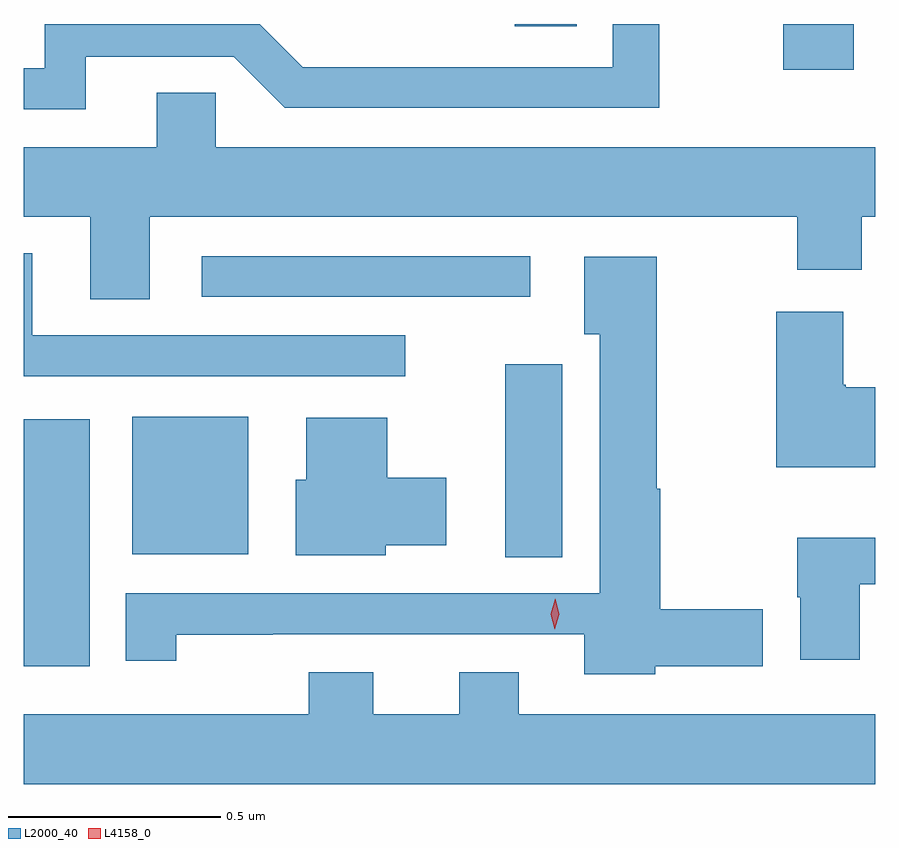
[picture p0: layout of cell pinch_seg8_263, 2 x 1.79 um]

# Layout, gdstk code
import gdstk
lib = gdstk.Library(unit=1e-6, precision=1e-09)
def R(c, l, rs):  # rectangles x0, y0, x1, y1
    for r in rs: c.add(gdstk.rectangle(r[:2], r[2:], *l))
def P(c, l, *ps):  # polygons
    for p in ps: c.add(gdstk.Polygon(p, *l))
L2000_40 = (2000, 40)
L4158_0 = (4158, 0)

pinch_seg8_263 = lib.new_cell('pinch_seg8_263')
R(pinch_seg8_263, L2000_40, [(491.003,1154.072,491.158,1154.653), (492.134,1154.329,492.268,1154.782), (491.258,1154.336,491.53,1154.659), (491.421,1154.94,492.193,1155.036), (492.787,1155.474,492.952,1155.581), (492.156,1155.576,492.302,1155.581)])
P(pinch_seg8_263, L2000_40, [(491.149,1155.504),(491.496,1155.504),(491.616,1155.384),(492.496,1155.384),(492.496,1155.581),(492.387,1155.581),(492.387,1155.48),(491.658,1155.48),(491.557,1155.581),(491.052,1155.581),(491.052,1155.477),(491.003,1155.477),(491.003,1155.381),(491.149,1155.381)],
  [(491.003,1155.128),(491.159,1155.128),(491.159,1154.935),(491.299,1154.935),(491.299,1155.128),(492.82,1155.128),(492.82,1155.004),(492.971,1155.004),(492.971,1155.128),(493.003,1155.128),(493.003,1155.292),(491.454,1155.292),(491.454,1155.419),(491.315,1155.419),(491.315,1155.292),(491.003,1155.292)],
  [(491.899,1154.85),(491.023,1154.85),(491.023,1155.043),(491.003,1155.043),(491.003,1154.754),(491.899,1154.754)],
  [(492.486,1154.072),(492.739,1154.072),(492.739,1154.207),(492.498,1154.207),(492.498,1154.49),(492.49,1154.49),(492.49,1155.034),(492.32,1155.034),(492.32,1154.852),(492.356,1154.852),(492.356,1154.244),(491.243,1154.244),(491.243,1154.085),(491.361,1154.085),(491.361,1154.147),(491.588,1154.147),(491.588,1154.148),(492.32,1154.148),(492.32,1154.054),(492.486,1154.054)],
  [(493.003,1154.728),(492.934,1154.728),(492.934,1154.734),(492.928,1154.734),(492.928,1154.905),(492.77,1154.905),(492.77,1154.54),(493.003,1154.54)],
  [(491.853,1154.357),(491.995,1154.357),(491.995,1154.515),(491.857,1154.515),(491.857,1154.656),(491.666,1154.656),(491.666,1154.511),(491.642,1154.511),(491.642,1154.333),(491.853,1154.333)],
  [(492.967,1154.265),(493.003,1154.265),(493.003,1154.374),(492.82,1154.374),(492.82,1154.235),(492.827,1154.235),(492.827,1154.088),(492.967,1154.088)],
  [(493.003,1153.96),(492.166,1153.96),(492.166,1154.059),(492.026,1154.059),(492.026,1153.96),(491.824,1153.96),(491.824,1154.059),(491.672,1154.059),(491.672,1153.96),(491.003,1153.96),(491.003,1153.796),(493.003,1153.796)])
P(pinch_seg8_263, L4158_0, [(492.25,1154.159),(492.25,1154.159),(492.241,1154.195),(492.251,1154.231),(492.251,1154.231),(492.251,1154.231),(492.261,1154.195),(492.25,1154.159)])

lib.write_gds('pinch_seg8_263.gds')
